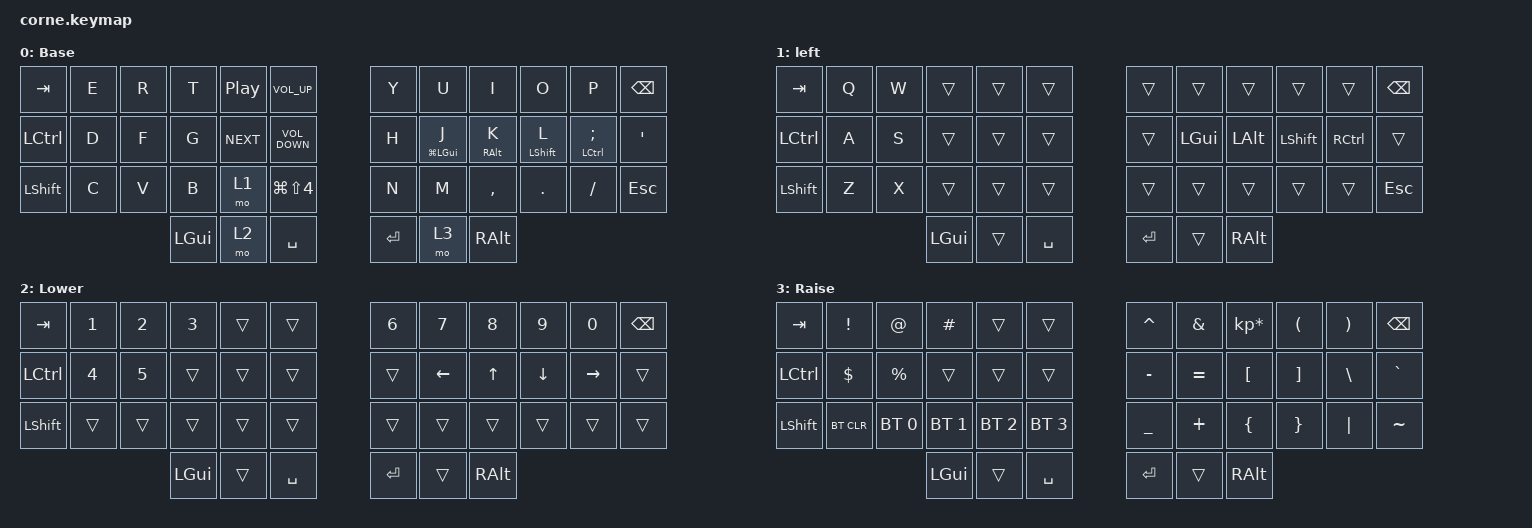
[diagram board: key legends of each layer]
/*
 * Copyright (c) 2020 The ZMK Contributors
 *
 * SPDX-License-Identifier: MIT
 */

#include <behaviors.dtsi>
#include <dt-bindings/zmk/bt.h>
#include <dt-bindings/zmk/keys.h>

/ {
    combos {
        compatible = "zmk,combos";

        screenshot {
            bindings = <&none>;
            key-positions = <36 12 2>;
            layers = <0>;
        };
    };

    keymap {
        compatible = "zmk,keymap";

        default_layer {
            // -----------------------------------------------------------------------------------------
            // |  TAB |  Q  |  W  |  E  |  R  |  T  |   |  Y  |  U   |  I  |  O  |  P  | BKSP |
            // | CTRL |  A  |  S  |  D  |  F  |  G  |   |  H  |  J   |  K  |  L  |  ;  |  '   |
            // | SHFT |  Z  |  X  |  C  |  V  |  B  |   |  N  |  M   |  ,  |  .  |  /  | ESC  |
            //                    | GUI | LWR | SPC |   | ENT | RSE  | ALT |

            display-name = "Base";
            bindings = <
&kp TAB    &kp E  &kp R  &kp T     &kp C_PLAY_PAUSE  &kp C_VOLUME_UP         &kp Y    &kp U               &kp I            &kp O             &kp P                &kp BSPC
&kp LCTRL  &kp D  &kp F  &kp G     &kp C_NEXT        &kp C_VOLUME_DOWN       &kp H    &mt LG(LEFT_GUI) J  &mt RIGHT_ALT K  &mt LEFT_SHIFT L  &mt LCTRL SEMICOLON  &kp SQT
&kp LSHFT  &kp C  &kp V  &kp B     &mo 1             &kp LG(LS(NUMBER_4))    &kp N    &kp M               &kp COMMA        &kp DOT           &kp FSLH             &kp ESC
                         &kp LGUI  &mo 2             &kp SPACE               &kp RET  &mo 3               &kp RALT
            >;
        };

        left {
            bindings = <
&kp TAB    &kp Q  &kp W  &trans        &trans  &trans       &trans     &trans        &trans         &trans          &trans     &kp BACKSPACE
&kp LCTRL  &kp A  &kp S  &trans        &trans  &trans       &trans     &kp LEFT_GUI  &kp LEFT_ALT   &kp LEFT_SHIFT  &kp RCTRL  &trans
&kp LSHFT  &kp Z  &kp X  &trans        &trans  &trans       &trans     &trans        &trans         &trans          &trans     &kp ESC
                         &kp LEFT_GUI  &trans  &kp SPACE    &kp ENTER  &trans        &kp RIGHT_ALT
            >;
        };

        lower_layer {
            // -----------------------------------------------------------------------------------------
            // |  TAB |  1  |  2  |  3  |  4  |  5  |   |  6  |  7  |  8  |  9  |  0  | BKSP |
            // | BTCLR| BT1 | BT2 | BT3 | BT4 | BT5 |   | LFT | DWN |  UP | RGT |     |      |
            // | SHFT |     |     |     |     |     |   |     |     |     |     |     |      |
            //                    | GUI |     | SPC |   | ENT |     | ALT |

            display-name = "Lower";
            bindings = <
&kp TAB    &kp N1        &kp N2  &kp N3    &trans  &trans       &kp N6   &kp N7          &kp N8        &kp N9          &kp N0           &kp BSPC
&kp LCTRL  &kp NUMBER_4  &kp N5  &trans    &trans  &trans       &trans   &kp LEFT_ARROW  &kp UP_ARROW  &kp DOWN_ARROW  &kp RIGHT_ARROW  &trans
&kp LSHFT  &trans        &trans  &trans    &trans  &trans       &trans   &trans          &trans        &trans          &trans           &trans
                                 &kp LGUI  &trans  &kp SPACE    &kp RET  &trans          &kp RALT
            >;
        };

        raise_layer {
            // -----------------------------------------------------------------------------------------
            // |  TAB |  !  |  @  |  #  |  $  |  %  |   |  ^  |  &  |  *  |  (  |  )  | BKSP |
            // | CTRL |     |     |     |     |     |   |  -  |  =  |  [  |  ]  |  \  |  `   |
            // | SHFT |     |     |     |     |     |   |  _  |  +  |  {  |  }  | "|" |  ~   |
            //                    | GUI |     | SPC |   | ENT |     | ALT |

            display-name = "Raise";
            bindings = <
&kp TAB    &kp EXCL    &kp AT        &kp HASH      &trans        &trans          &kp CARET  &kp AMPS   &kp KP_MULTIPLY  &kp LPAR  &kp RPAR  &kp BSPC
&kp LCTRL  &kp DLLR    &kp PRCNT     &trans        &trans        &trans          &kp MINUS  &kp EQUAL  &kp LBKT         &kp RBKT  &kp BSLH  &kp GRAVE
&kp LSHFT  &bt BT_CLR  &bt BT_SEL 0  &bt BT_SEL 1  &bt BT_SEL 2  &bt BT_SEL 3    &kp UNDER  &kp PLUS   &kp LBRC         &kp RBRC  &kp PIPE  &kp TILDE
                                     &kp LGUI      &trans        &kp SPACE       &kp RET    &trans     &kp RALT
            >;
        };
    };
};
